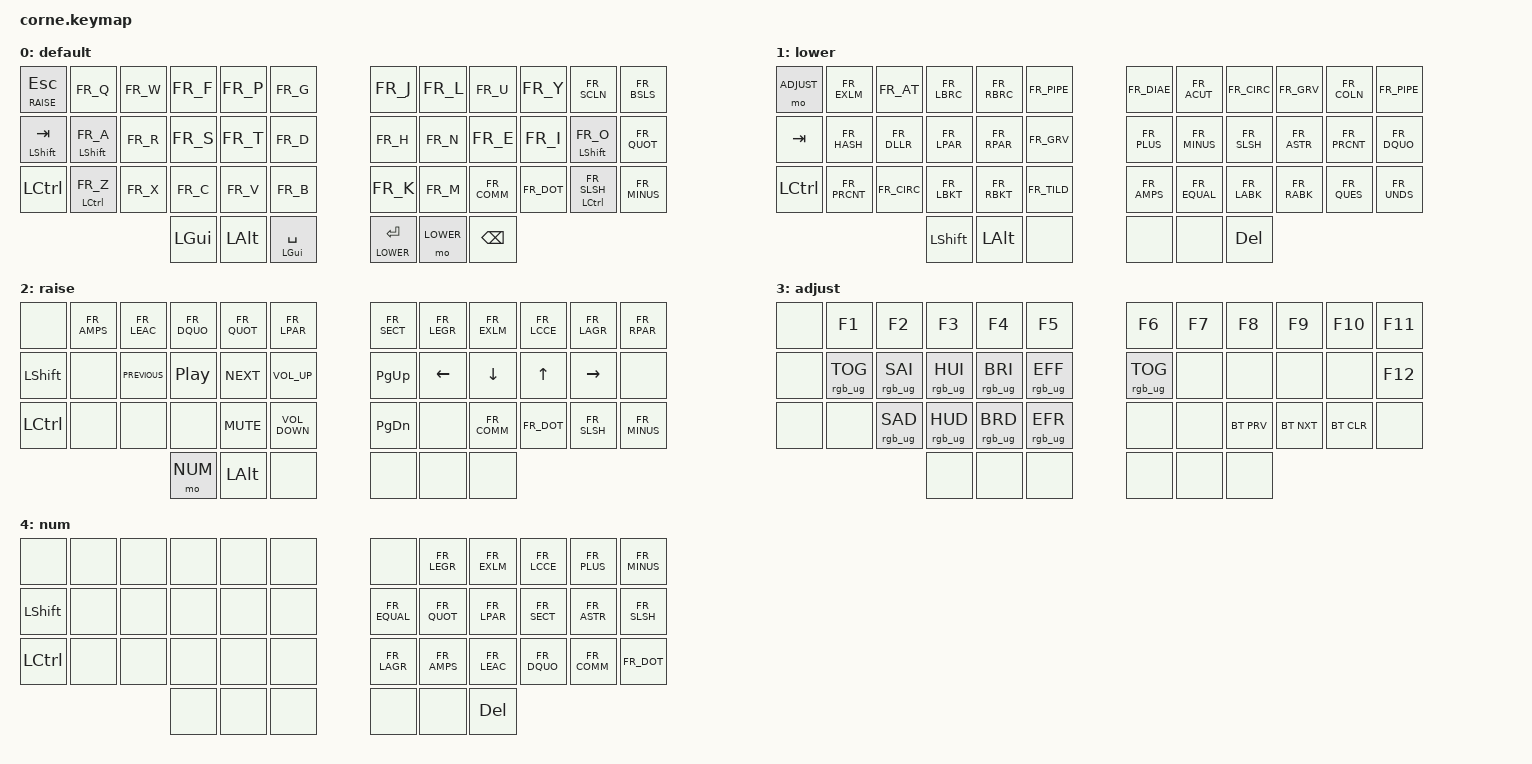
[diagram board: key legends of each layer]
/*
 * Copyright (c) 2020 The ZMK Contributors
 *
 * SPDX-License-Identifier: MIT
 */

#include <behaviors.dtsi>
#include <dt-bindings/zmk/keys.h>
#include <dt-bindings/zmk/bt.h>
#include <dt-bindings/zmk/rgb.h>
#include <dt-bindings/zmk/ext_power.h>
#include "keymap_french_osx.h"

#define DEFAULT 0
#define LOWER   1
#define RAISE   2
#define ADJUST  3
#define NUM  4


&mt {
    tapping-term-ms = <400>;
};


&spi1 {
   compatible = "nordic,nrf-spim";
  /* Cannot be used together with i2c0. */
   status = "okay";
   mosi-pin = <6>;
   // Unused pins, needed for SPI definition, but not used by the ws2812 driver itself.
   sck-pin = <5>;
   miso-pin = <7>;

   led_strip: ws2812@0 {
      compatible = "worldsemi,ws2812-spi";
      label = "SK6812mini";

      /* SPI */
      reg = <0>; /* ignored, but necessary for SPI bindings */
      spi-max-frequency = <4000000>;

      /* WS2812 */
      chain-length = <27>; /* There are per-key RGB, but the first 6 are underglow */
      spi-one-frame = <0x70>;
      spi-zero-frame = <0x40>;
   };
};

/ {
   chosen {
      zmk,underglow = &led_strip;
   };
};


/ {

        keymap {
                compatible = "zmk,keymap";

                default_layer {
                        label = "default";

// ------------------------------------------------------------------------------------------------------
// | RSE/ESC  |  Q      |  W  |  F  |  P  |  G      |   |  J      |  L   |  U   |  Y  |  ;       |  \   |
// | SHFT/TAB | SHFT/A  |  R  |  S  |  T  |  D      |   |  H      |  N   |  E   |  I  |  SHFT/O  |  '   |
// | CTRL     | CTRL/Z  |  X  |  C  |  V  |  B      |   |  N      |  M   |  ,   |  .  |  CTRL//  |  -   |
//                        | GUI | ALT | SPC/GUI |   | ENT/LWR | LWR  | BKSP |
                        bindings = <
   &lt RAISE ESC &kp FR_Q          &kp FR_W     &kp FR_F      &kp FR_P      &kp FR_G         &kp FR_J       &kp FR_L     &kp FR_U     &kp FR_Y   &kp FR_SCLN       &kp FR_BSLS
   &mt LSHFT TAB &mt LSHFT FR_A    &kp FR_R     &kp FR_S      &kp FR_T      &kp FR_D         &kp FR_H       &kp FR_N     &kp FR_E     &kp FR_I   &mt LSHFT FR_O    &kp FR_QUOT
   &kp LCTRL     &mt LCTRL FR_Z    &kp FR_X     &kp FR_C      &kp FR_V      &kp FR_B         &kp FR_K       &kp FR_M     &kp FR_COMM  &kp FR_DOT &mt LCTRL FR_SLSH &kp FR_MINUS
                                                &kp LGUI      &kp LALT      &mt LGUI SPACE   &lt LOWER RET  &mo LOWER    &kp BSPC
                        >;

                };
                lower_layer {
                        label = "lower";

// ----------------------------------------------------------------------------------
// | ADJUST |  !  |  @  |  {   |  }   |  |  |   |  ¨  |  ´  |  ^  |  `  |  :  |  |  |
// | TAB    |  #  |  $  |  (   |  )   |  `  |   |  +  |  -  |  /  |  *  |  %  |  "  |
// | CTRL   |  %  |  ^  |  [   |  ]   |  ~  |   |  &  |  =  |  <  |  >  |  ?  |  _  |
//                      | SHFT | ALT  |     |   |     |     | DEL |
                        bindings = <
   &mo ADJUST &kp FR_EXLM  &kp FR_AT   &kp FR_LBRC  &kp FR_RBRC  &kp FR_PIPE   &kp FR_DIAE &kp FR_ACUT  &kp FR_CIRC &kp FR_GRV  &kp FR_COLN  &kp FR_PIPE
   &kp TAB    &kp FR_HASH  &kp FR_DLLR &kp FR_LPAR  &kp FR_RPAR  &kp FR_GRV    &kp FR_PLUS &kp FR_MINUS &kp FR_SLSH &kp FR_ASTR &kp FR_PRCNT &kp FR_DQUO
   &kp LCTRL  &kp FR_PRCNT &kp FR_CIRC &kp FR_LBKT  &kp FR_RBKT  &kp FR_TILD   &kp FR_AMPS &kp FR_EQUAL &kp FR_LABK &kp FR_RABK &kp FR_QUES  &kp FR_UNDS
                                       &kp LSHFT    &kp LALT     &none         &none       &none        &kp DEL
                        >;
                };
                
                raise_layer {
                        label = "raise";

// --------------------------------------------------------------------------------------------------
// |  |  &/1  |  é/2   |  "/3   |  '/4   |  (/5    |   |  §/6    |  è/7  |  !/8 |  ç/9 |  à/0 | )/° |
// |  |       | Prev   | Play   | Next   | VolUp   |   | PG_UP   | LFT   | DWN  |  UP  | RGT  |     |
// |  |       |        |        | Mute   | VolDn   |   | PG_DN   |       | ,    |  .   |  /   |  -  |
//                     | NUM    | ALT    |         |   |         |       |      |
                        bindings = <
   &none     &kp FR_AMPS &kp FR_LEAC    &kp FR_DQUO      &kp FR_QUOT  &kp FR_LPAR        &kp FR_SECT  &kp FR_LEGR  &kp FR_EXLM  &kp FR_LCCE &kp FR_LAGR &kp FR_RPAR
   &kp LSHFT &none       &kp C_PREVIOUS &kp C_PLAY_PAUSE &kp C_NEXT   &kp C_VOLUME_UP    &kp PG_UP    &kp LEFT     &kp DOWN     &kp UP      &kp RIGHT   &none
   &kp LCTRL &none       &none          &none            &kp C_MUTE   &kp C_VOLUME_DOWN  &kp PG_DN    &none        &kp FR_COMM  &kp FR_DOT  &kp FR_SLSH &kp FR_MINUS
                                        &mo NUM          &kp LALT     &none              &none        &none        &none
                        >;
                };

                adjust_layer {
                        label = "adjust";

// -----------------------------------------------------------------------------------------------------
// |  | F1      | F2      | F3      | F4      | F5      |   | F6 | F7 | F8     | F9     | F10    | F11 |
// |  | RGB_TOG | RGB_SAI | RGB_HUI | RGB_BRI | RGB_EFF |   |    |    |        |        |        | F12 |
// |  | PWR_TOG | RGB_SAD | RGB_HUD | RGB_BRD | RGB_EFR |   |    |    | BT_PRV | BT_NXT | BT_CLR |     |
//                        |         |         |         |   |    |    |        |
                        bindings = <
   &none  &kp F1            &kp F2          &kp F3          &kp F4          &kp F5           &kp F6           &kp F7 &kp F8       &kp F9      &kp F10      &kp F11
   &none  &rgb_ug RGB_TOG   &rgb_ug RGB_SAI &rgb_ug RGB_HUI &rgb_ug RGB_BRI &rgb_ug RGB_EFF  &rgb_ug RGB_TOG  &none  &none        &none       &none        &kp F12
   &none  &none             &rgb_ug RGB_SAD &rgb_ug RGB_HUD &rgb_ug RGB_BRD &rgb_ug RGB_EFR  &none            &none  &bt BT_PRV   &bt BT_NXT  &bt BT_CLR   &none
                                            &none           &none           &none            &none            &none  &none
                        >;
                };

                num_layer {
                        label = "num";

// --------------------------------------------------------------------------------------------------
// |  |  |  |  |  |  |   |     | è/7 | !/8 | ç/9 | + | - |
// |  |  |  |  |  |  |   |  =  | '/4 | (/5 | §/6 | * | / |
// |  |  |  |  |  |  |   | à/0 | &/1 | é/2 | "/3 | , | . |
//             |  |  |   |     |     |     | DEL |
                        bindings = <
   &none     &none &none &none &none &none     &none        &kp FR_LEGR  &kp FR_EXLM  &kp FR_LCCE  &kp FR_PLUS  &kp FR_MINUS
   &kp LSHFT &none &none &none &none &none     &kp FR_EQUAL &kp FR_QUOT  &kp FR_LPAR  &kp FR_SECT  &kp FR_ASTR  &kp FR_SLSH
   &kp LCTRL &none &none &none &none &none     &kp FR_LAGR  &kp FR_AMPS  &kp FR_LEAC  &kp FR_DQUO  &kp FR_COMM  &kp FR_DOT
                         &none &none &none     &none        &none        &kp DEL
                        >;
                };
        };
};
